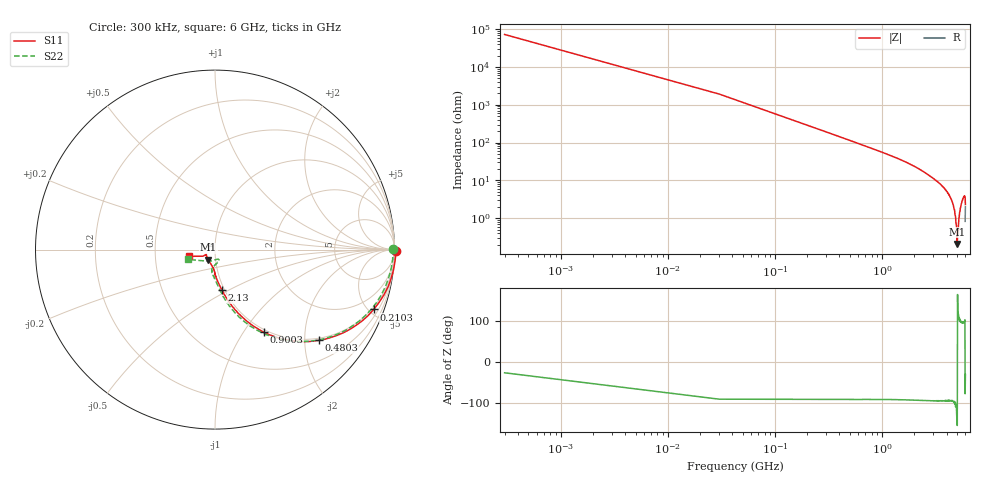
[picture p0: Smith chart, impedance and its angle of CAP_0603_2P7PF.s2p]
# Hz S RI R 50
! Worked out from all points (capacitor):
!   201 points, 300 kHz to 6 GHz, reference 50 ohm
!   read as one part in series: C = 2.74 pF near 30.3 MHz
!   lowest |Z| = 208 mohm at 5.04 GHz (marker M1)
!   series resonance near 5.054 GHz, so ESL is about 360 pH
!   S11 on the Smith chart (normalised r, x): 300 kHz: open; 210.3 MHz: 0.86, -5.35; 480.3 MHz: 0.95, -2.34; 900.3 MHz: 0.97, -1.24; 2.13 GHz: 0.97, -0.46; 6 GHz: 0.74, -0.06
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300000  1.01 -0.0064  0.00125 0.000599  0.00078 0.00134  0.9905 0.00374
3.02985e7  1.004 -0.0548  0.00283 0.0521  0.00287 0.0521  0.9899 -0.0541
6.0297e7  0.9961 -0.1071  0.011 0.1027  0.0109 0.1028  0.9812 -0.1071
9.02955e7  0.9823 -0.1581  0.0241 0.1521  0.024 0.152  0.9673 -0.1576
1.502925e8  0.9408 -0.253  0.0643 0.2425  0.0642 0.2427  0.9264 -0.2528
2.102895e8  0.8844 -0.3334  0.1188 0.3192  0.1187 0.3192  0.8699 -0.3339
3.302835e8  0.7496 -0.4454  0.2491 0.4266  0.2489 0.4269  0.7348 -0.4455
4.80276e8  0.5789 -0.5054  0.4138 0.4821  0.4137 0.4828  0.566 -0.5053
9.00255e8  0.2739 -0.4598  0.7143 0.4389  0.7141 0.4384  0.2568 -0.4594
1.020249e9  0.2236 -0.4321  0.7666 0.4111  0.7666 0.4102  0.2066 -0.4323
1.470226e9  0.1083 -0.3312  0.883 0.31  0.8829 0.3095  0.0918 -0.3303
2.0102e9  0.0471 -0.2403  0.9547 0.2114  0.9538 0.2122  0.0346 -0.2393
2.130194e9  0.038 -0.2249  0.9638 0.1911  0.963 0.1911  0.0268 -0.2233
3.00015e9  0.00442 -0.1489  0.9896 0.0779  0.9896 0.081  -0.00849 -0.1462
4.020099e9  -0.00842 -0.1061  0.9858 -0.004  0.9893 -0.00451  -0.0166 -0.106
5.01005e9  -0.0374 -0.0568  0.9919 -0.0636  0.9912 -0.0623  0.0121 -0.0743
5.040048e9  -0.0378 -0.0558  0.9888 -0.0632  0.9939 -0.0618  0.0135 -0.0733
5.700015e9  -0.0481 -0.0273  0.9877 -0.1059  0.9881 -0.1086  0.0174 -0.0545
5.850008e9  -0.0514 -0.0281  0.9842 -0.113  0.9891 -0.1181  0.00734 -0.0545
5.940003e9  -0.0587 -0.0329  0.9775 -0.1178  0.9809 -0.1211  -0.0113 -0.0605
5.970002e9  -0.0695 -0.0369  -0.9636 0.1182  -0.9657 0.1273  -0.0298 -0.0659
6e9  -0.1456 -0.0373  -0.8947 0.0669  -0.8921 0.0722  -0.1491 -0.0547
